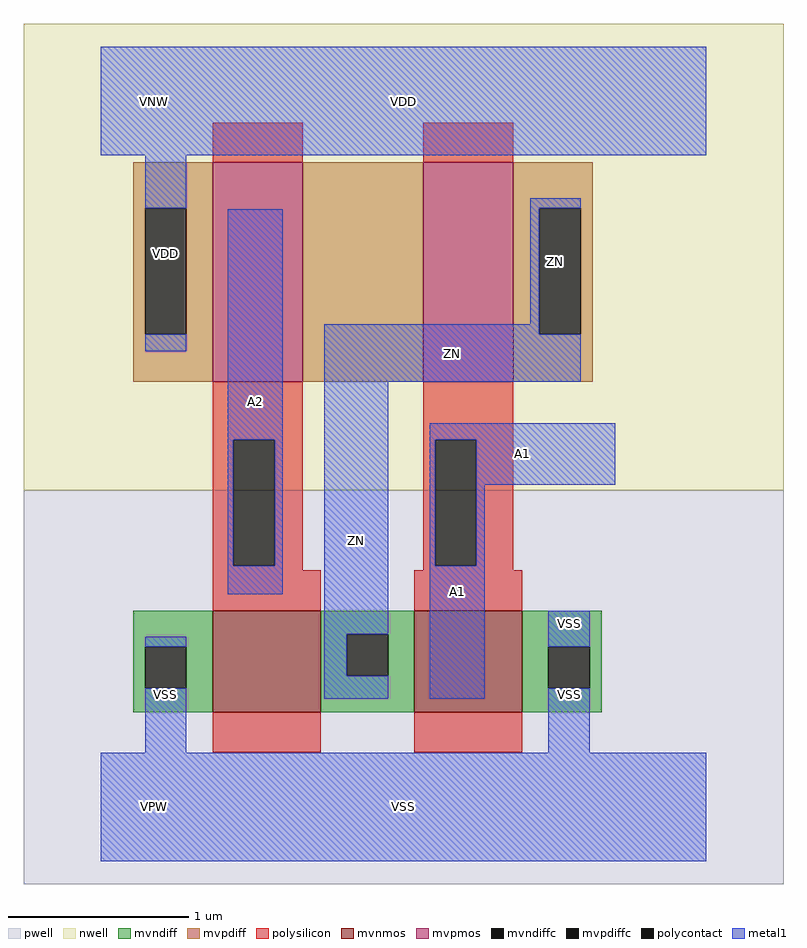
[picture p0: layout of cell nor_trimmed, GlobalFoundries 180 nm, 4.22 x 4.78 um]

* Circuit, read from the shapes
.subckt nor_trimmed A1 A2 ZN VDD VNW VPW VSS
XM1 ZN A2 VSS VPW nfet_06v0 w=0.565u l=0.6u
XM2 VSS A1 ZN VPW nfet_06v0 w=0.565u l=0.6u
XM3 n1 A2 VDD VNW pfet_06v0 w=1.22u l=0.5u
XM4 ZN A1 n1 VNW pfet_06v0 w=1.22u l=0.5u
.ends

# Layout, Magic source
magic
tech gf180mcuD
magscale 1 10
<< nwell >>
rect -86 352 758 870
<< pwell >>
rect -86 -86 758 352
<< mvnmos >>
rect 124 105 244 218
rect 348 105 468 218
<< mvpmos >>
rect 124 472 224 716
rect 358 472 458 716
<< mvndiff >>
rect 36 178 124 218
rect 36 132 49 178
rect 95 132 124 178
rect 36 105 124 132
rect 244 192 348 218
rect 244 146 273 192
rect 319 146 348 192
rect 244 105 348 146
rect 468 178 556 218
rect 468 132 497 178
rect 543 132 556 178
rect 468 105 556 132
<< mvpdiff >>
rect 36 665 124 716
rect 36 525 49 665
rect 95 525 124 665
rect 36 472 124 525
rect 224 472 358 716
rect 458 665 546 716
rect 458 525 487 665
rect 533 525 546 665
rect 458 472 546 525
<< mvndiffc >>
rect 49 132 95 178
rect 273 146 319 192
rect 497 132 543 178
<< mvpdiffc >>
rect 49 525 95 665
rect 487 525 533 665
<< polysilicon >>
rect 124 716 224 760
rect 358 716 458 760
rect 124 408 224 472
rect 124 268 147 408
rect 193 268 224 408
rect 124 263 224 268
rect 358 408 458 472
rect 358 268 371 408
rect 417 268 458 408
rect 358 263 458 268
rect 124 218 244 263
rect 348 218 468 263
rect 124 61 244 105
rect 348 61 468 105
<< polycontact >>
rect 147 268 193 408
rect 371 268 417 408
<< metal1 >>
rect 0 724 672 844
rect 49 665 95 724
rect 477 665 533 676
rect 49 506 95 525
rect 141 408 202 664
rect 477 536 487 665
rect 141 268 147 408
rect 193 268 202 408
rect 141 236 202 268
rect 248 525 487 536
rect 248 472 533 525
rect 248 192 319 472
rect 49 178 95 189
rect 49 60 95 132
rect 248 146 273 192
rect 248 120 319 146
rect 365 408 571 426
rect 365 268 371 408
rect 417 358 571 408
rect 417 268 426 358
rect 365 120 426 268
rect 497 178 543 218
rect 497 60 543 132
rect 0 -60 672 60
<< labels >>
flabel metal1 s 0 724 672 844 0 FreeSans 400 0 0 0 VDD
port 4 nsew power bidirectional abutment
flabel metal1 s 497 189 543 218 0 FreeSans 400 0 0 0 VSS
port 7 nsew ground bidirectional abutment
flabel metal1 s 477 536 533 676 0 FreeSans 400 0 0 0 ZN
port 3 nsew default output
flabel metal1 s 365 358 571 426 0 FreeSans 400 0 0 0 A1
port 1 nsew default input
flabel metal1 s 141 236 202 664 0 FreeSans 400 0 0 0 A2
port 2 nsew default input
flabel nwell s 10 734 110 834 0 FreeSans 400 0 0 0 VNW
port 5 nsew power bidirectional
flabel pwell s 10 -50 110 50 0 FreeSans 400 0 0 0 VPW
port 6 nsew ground bidirectional
rlabel metal1 s 365 120 426 358 1 A1
port 1 nsew default input
rlabel metal1 s 248 472 533 536 1 ZN
port 3 nsew default output
rlabel metal1 s 248 120 319 472 1 ZN
port 3 nsew default output
rlabel metal1 s 49 506 95 724 1 VDD
port 4 nsew power bidirectional abutment
rlabel metal1 s 497 60 543 189 1 VSS
port 7 nsew ground bidirectional abutment
rlabel metal1 s 49 60 95 189 1 VSS
port 7 nsew ground bidirectional abutment
rlabel metal1 s 0 -60 672 60 1 VSS
port 7 nsew ground bidirectional abutment
<< properties >>
string FIXED_BBOX 0 0 672 784
string GDS_END 740172
string GDS_FILE $PDKPATH/libs.ref/gf180mcu_fd_sc_mcu7t5v0/gds/gf180mcu_fd_sc_mcu7t5v0.gds
string GDS_START 737482
string LEFclass core
string LEFsite GF018hv5v_mcu_sc7
string LEFsymmetry X Y
<< end >>
